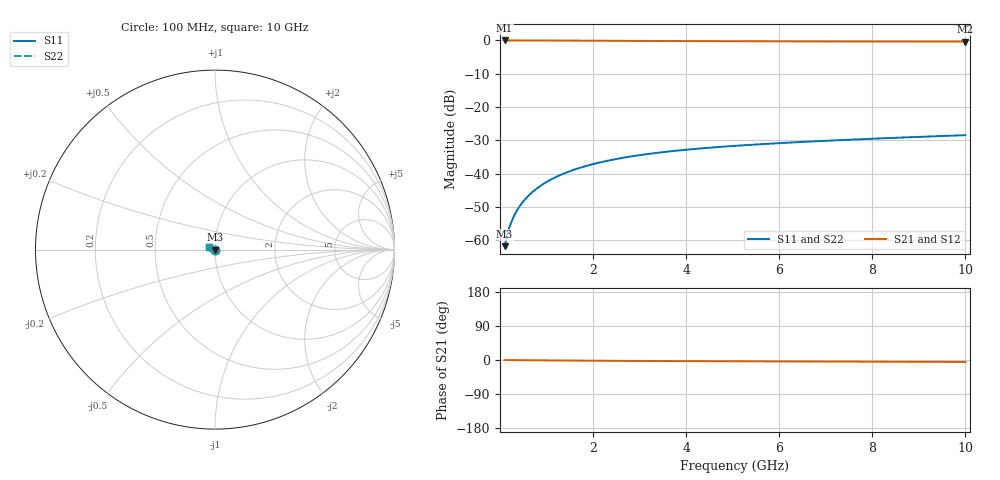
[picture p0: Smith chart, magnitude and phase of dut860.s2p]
! Touchstone file exported from HFSS 2024.1.0
!  File:  C:/UserFiles/LocalFiles/RDL_TSV_Batchsim/temp_TSV1_860_1779881855.aedt
!  Generated:  07:42:55 PM May 27, 2026
!  Design:  TSV1
!  Project:  temp_TSV1_860_1779881855
!  Setup:  Setup1
!  Solution:  Sweep
! Variables:
!  dtsv = 6.87um
!  hbump = 3um
!  htsv = 77.28um
!  lrdl = 252.1521522um
!  p = 40
!  p1 = 47.56um
!  t = 500um
!  trdl = 3um
!  wrdl = 24.89489489um
# GHz S MA R 50.000000
! Terminal data exported
! Port[1] = TSV22_T1
! Port[2] = TSV22_T2
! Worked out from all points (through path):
!   100 points, 100 MHz to 10 GHz, reference 50 ohm
!   highest |S21| = 0.00 dB at 100 MHz (marker M1); lowest = -0.3 dB at 10 GHz (marker M2)
!   lowest |S11| = -61.8 dB at 100 MHz (marker M3), VSWR 1.00, Z = 50 - j0.0764 ohm
!   |S11| at or under -10 dB: start of sweep to end of sweep
!   |S22| runs from -61.8 to -28.5 dB; largest |S21 - S12| = 3.1e-15
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0.1  0.0008102 -70.4  0.9997 -0.1  0.9997 -0.1  0.0008102 -70.4
! Gamma 0 0 0 0
! Port Impedance 50 0 50 0
0.2  0.001553 -82.8  0.9996 -0.2  0.9996 -0.2  0.001553 -82.8
0.3  0.002307 -88.4  0.9994 -0.3  0.9994 -0.3  0.002307 -88.4
0.4  0.003061 -92.2  0.9992 -0.4  0.9992 -0.4  0.003061 -92.2
0.5  0.003812 -95.3  0.999 -0.5  0.999 -0.5  0.003812 -95.3
0.6  0.004557 -98.0  0.9987 -0.6  0.9987 -0.6  0.004557 -98.0
0.7  0.005294 -100.4  0.9984 -0.7  0.9984 -0.7  0.005294 -100.4
0.8  0.006024 -102.7  0.998 -0.8  0.998 -0.8  0.006024 -102.7
0.9  0.006744 -105.0  0.9976 -0.9  0.9976 -0.9  0.006744 -105.0
1.1  0.008153 -109.2  0.9967 -1.1  0.9967 -1.1  0.008153 -109.2
1.4  0.01018 -115.1  0.995 -1.4  0.995 -1.4  0.01018 -115.1
1.6  0.01146 -118.8  0.9938 -1.5  0.9938 -1.5  0.01146 -118.8
1.8  0.01268 -122.4  0.9925 -1.7  0.9925 -1.7  0.01268 -122.4
2.1  0.01442 -127.6  0.9904 -1.9  0.9904 -1.9  0.01442 -127.6
2.5  0.01653 -134.0  0.9877 -2.2  0.9877 -2.2  0.01653 -134.0
2.9  0.01844 -140.0  0.985 -2.4  0.985 -2.4  0.01844 -140.0
3.4  0.02056 -146.9  0.9818 -2.7  0.9818 -2.7  0.02056 -146.9
4.2  0.02346 -156.7  0.9773 -3.0  0.9773 -3.0  0.02346 -156.7
5.1  0.02621 -166.3  0.9731 -3.4  0.9731 -3.4  0.02621 -166.3
6.7  0.03033 179.7  0.9676 -4.0  0.9676 -4.0  0.03033 179.7
8.4  0.03422 167.8  0.9637 -4.5  0.9637 -4.5  0.03422 167.8
10  0.03774 158.7  0.9611 -5.1  0.9611 -5.1  0.03774 158.6
